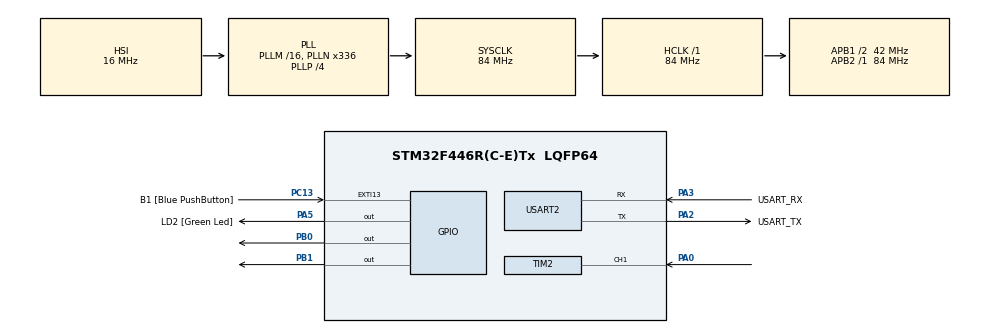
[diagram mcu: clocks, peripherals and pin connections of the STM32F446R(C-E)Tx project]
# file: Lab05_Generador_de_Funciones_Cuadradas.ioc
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Mcu.Family=STM32F4
Mcu.Name=STM32F446R(C-E)Tx
Mcu.Package=LQFP64
NVIC.EXTI15_10_IRQn=true\:0\:0\:false\:false\:true\:true\:true\:true
NVIC.FLASH_IRQn=true\:0\:0\:false\:false\:true\:true\:true\:true
NVIC.FPU_IRQn=true\:0\:0\:false\:false\:true\:true\:false\:true
NVIC.PVD_IRQn=true\:0\:0\:false\:false\:true\:true\:true\:true
NVIC.PriorityGroup=NVIC_PRIORITYGROUP_0
NVIC.RCC_IRQn=true\:0\:0\:false\:false\:true\:true\:false\:true
NVIC.TIM1_UP_TIM10_IRQn=true\:0\:0\:false\:false\:true\:true\:true\:true
NVIC.TIM2_IRQn=true\:0\:0\:false\:false\:true\:true\:true\:true
NVIC.TIM3_IRQn=true\:0\:0\:false\:false\:true\:true\:true\:true
NVIC.USART2_IRQn=true\:0\:0\:false\:false\:true\:true\:true\:true
PA0-WKUP.Signal=S_TIM2_CH1_ETR
PA13.GPIO_Label=TMS
PA13.Mode=Serial_Wire
PA13.Signal=SYS_JTMS-SWDIO
PA14.GPIO_Label=TCK
PA14.Mode=Serial_Wire
PA14.Signal=SYS_JTCK-SWCLK
PA2.GPIO_Label=USART_TX
PA2.Mode=Asynchronous
PA2.Signal=USART2_TX
PA3.GPIO_Label=USART_RX
PA3.Mode=Asynchronous
PA3.Signal=USART2_RX
PA5.GPIO_Label=LD2 [Green Led]
PA5.Signal=GPIO_Output
PB0.Signal=GPIO_Output
PB1.Signal=GPIO_Output
PB3.GPIO_Label=SWO
PB3.Signal=SYS_JTDO-SWO
PC13.GPIO_Label=B1 [Blue PushButton]
PC13.GPIO_ModeDefaultEXTI=GPIO_MODE_IT_FALLING
PC13.Signal=GPXTI13
PC14-OSC32_IN.Mode=LSE-External-Oscillator
PC14-OSC32_IN.Signal=RCC_OSC32_IN
PC15-OSC32_OUT.Mode=LSE-External-Oscillator
PC15-OSC32_OUT.Signal=RCC_OSC32_OUT
PH0-OSC_IN.Mode=HSE-External-Oscillator
PH0-OSC_IN.Signal=RCC_OSC_IN
PH1-OSC_OUT.Mode=HSE-External-Oscillator
PH1-OSC_OUT.Signal=RCC_OSC_OUT
ProjectManager.HeapSize=0x200
ProjectManager.StackSize=0x400
ProjectManager.TargetToolchain=STM32CubeIDE
RCC.48MHZClocksFreq_Value=84000000
RCC.AHBFreq_Value=84000000
RCC.APB1CLKDivider=RCC_HCLK_DIV2
RCC.APB1Freq_Value=42000000
RCC.APB1TimFreq_Value=84000000
RCC.APB2Freq_Value=84000000
RCC.APB2TimFreq_Value=84000000
RCC.CortexFreq_Value=84000000
RCC.FLatency-AdvancedSettings=FLASH_LATENCY_2
RCC.HCLKFreq_Value=84000000
RCC.HSE_VALUE=8000000
RCC.HSI_VALUE=16000000
RCC.PLLN=336
RCC.PLLP=RCC_PLLP_DIV4
RCC.SYSCLKFreq_VALUE=84000000
RCC.SYSCLKSource=RCC_SYSCLKSOURCE_PLLCLK
RCC.USBFreq_Value=168000000
RCC.VCOOutputFreq_Value=336000000
SH.S_TIM2_CH1_ETR.0=TIM2_CH1,Input_Capture1_from_TI1
TIM10.AutoReloadPreload=TIM_AUTORELOAD_PRELOAD_ENABLE
TIM10.Period=9999
TIM10.Prescaler=8399
TIM2.AutoReloadPreload=TIM_AUTORELOAD_PRELOAD_ENABLE
TIM2.Channel-Input_Capture1_from_TI1=TIM_CHANNEL_1
TIM2.Prescaler=83
TIM3.AutoReloadPreload=TIM_AUTORELOAD_PRELOAD_ENABLE
TIM3.Period=2499
TIM3.Prescaler=8399
USART2.VirtualMode=VM_ASYNC
VP_TIM10_VS_ClockSourceINT.Mode=Enable_Timer
VP_TIM3_VS_ClockSourceINT.Mode=Internal
board=NUCLEO-F446RE

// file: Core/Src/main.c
/* USER CODE BEGIN Header */
/**
  ******************************************************************************
  * @file           : main.c
  * @brief          : Main program body
  ******************************************************************************
  * @attention
  *
  * Copyright (c) 2026 STMicroelectronics.
  * All rights reserved.
  *
  * This software is licensed under terms that can be found in the LICENSE file
  * in the root directory of this software component.
  * If no LICENSE file comes with this software, it is provided AS-IS.
  *
  ******************************************************************************
  */
/*
 * Autor: David Carranza
 */
/* USER CODE END Header */
#include "main.h"

/* USER CODE BEGIN Includes */
#include <stdio.h>
#include <string.h>
/* USER CODE END Includes */

TIM_HandleTypeDef htim2;
TIM_HandleTypeDef htim3;
TIM_HandleTypeDef htim10;

UART_HandleTypeDef huart2;

/* USER CODE BEGIN PV */
uint32_t v_cap1 = 0;
uint32_t v_cap2 = 0;
uint32_t diferencia = 0;
uint32_t es_primera = 0;
float frecuencia = 0;

// Frecuencia base ocnfigura en CubeMX (84Mhz/ 84 Prescaler)
uint32_t TIMER_FREQ = 1000000;
/* USER CODE END PV */

void SystemClock_Config(void);
static void MX_GPIO_Init(void);
static void MX_USART2_UART_Init(void);
static void MX_TIM2_Init(void);
static void MX_TIM3_Init(void);
static void MX_TIM10_Init(void);

int main(void)
{

  /* MCU Configuration--------------------------------------------------------*/

  /* Reset of all peripherals, Initializes the Flash interface and the Systick. */
  HAL_Init();

  /* Configure the system clock */
  SystemClock_Config();

  /* Initialize all configured peripherals */
  MX_GPIO_Init();
  MX_USART2_UART_Init();
  MX_TIM2_Init();
  MX_TIM3_Init();
  MX_TIM10_Init();
  /* USER CODE BEGIN 2 */
  // Iniciar la captura de interrupciones para el canal 1 del TIM4
  HAL_TIM_IC_Start_IT(&htim2	, TIM_CHANNEL_1);
  char msg[64];	// Buffer para UART

  HAL_TIM_Base_Start_IT(&htim3);	// Inicia timer para 250 ms
  HAL_TIM_Base_Start_IT(&htim10);	// Inicia timer para 1s

  /* USER CODE END 2 */

  /* Infinite loop */
  /* USER CODE BEGIN WHILE */
  while (1)
  {
	  // Limpiar el buffer y formatear el mensaje con la frecuencia
	        memset(msg, 0, sizeof(msg));
	        sprintf(msg, "Frecuencia: %.2f Hz \r\n", frecuencia);

	        // Transmitir por UART2
	        HAL_UART_Transmit(&huart2, (uint8_t*)msg, strlen(msg), 100);

	        // Retardo para evitar saturar la terminal
	        HAL_Delay(500);

    /* USER CODE END WHILE */

  }
}

void SystemClock_Config(void)
{
  RCC_OscInitTypeDef RCC_OscInitStruct = {0};
  RCC_ClkInitTypeDef RCC_ClkInitStruct = {0};

  /** Configure the main internal regulator output voltage
  */
  __HAL_RCC_PWR_CLK_ENABLE();
  __HAL_PWR_VOLTAGESCALING_CONFIG(PWR_REGULATOR_VOLTAGE_SCALE3);

  /** Initializes the RCC Oscillators according to the specified parameters
  * in the RCC_OscInitTypeDef structure.
  */
  RCC_OscInitStruct.OscillatorType = RCC_OSCILLATORTYPE_HSI;
  RCC_OscInitStruct.HSIState = RCC_HSI_ON;
  RCC_OscInitStruct.HSICalibrationValue = RCC_HSICALIBRATION_DEFAULT;
  RCC_OscInitStruct.PLL.PLLState = RCC_PLL_ON;
  RCC_OscInitStruct.PLL.PLLSource = RCC_PLLSOURCE_HSI;
  RCC_OscInitStruct.PLL.PLLM = 16;
  RCC_OscInitStruct.PLL.PLLN = 336;
  RCC_OscInitStruct.PLL.PLLP = RCC_PLLP_DIV4;
  RCC_OscInitStruct.PLL.PLLQ = 2;
  RCC_OscInitStruct.PLL.PLLR = 2;
  if (HAL_RCC_OscConfig(&RCC_OscInitStruct) != HAL_OK)
  {
    Error_Handler();
  }

  /** Initializes the CPU, AHB and APB buses clocks
  */
  RCC_ClkInitStruct.ClockType = RCC_CLOCKTYPE_HCLK|RCC_CLOCKTYPE_SYSCLK
                              |RCC_CLOCKTYPE_PCLK1|RCC_CLOCKTYPE_PCLK2;
  RCC_ClkInitStruct.SYSCLKSource = RCC_SYSCLKSOURCE_PLLCLK;
  RCC_ClkInitStruct.AHBCLKDivider = RCC_SYSCLK_DIV1;
  RCC_ClkInitStruct.APB1CLKDivider = RCC_HCLK_DIV2;
  RCC_ClkInitStruct.APB2CLKDivider = RCC_HCLK_DIV1;

  if (HAL_RCC_ClockConfig(&RCC_ClkInitStruct, FLASH_LATENCY_2) != HAL_OK)
  {
    Error_Handler();
  }
}

static void MX_TIM2_Init(void)
{

  TIM_MasterConfigTypeDef sMasterConfig = {0};
  TIM_IC_InitTypeDef sConfigIC = {0};

  htim2.Instance = TIM2;
  htim2.Init.Prescaler = 83;
  htim2.Init.CounterMode = TIM_COUNTERMODE_UP;
  htim2.Init.Period = 4294967295;
  htim2.Init.ClockDivision = TIM_CLOCKDIVISION_DIV1;
  htim2.Init.AutoReloadPreload = TIM_AUTORELOAD_PRELOAD_ENABLE;
  if (HAL_TIM_IC_Init(&htim2) != HAL_OK)
  {
    Error_Handler();
  }
  sMasterConfig.MasterOutputTrigger = TIM_TRGO_RESET;
  sMasterConfig.MasterSlaveMode = TIM_MASTERSLAVEMODE_DISABLE;
  if (HAL_TIMEx_MasterConfigSynchronization(&htim2, &sMasterConfig) != HAL_OK)
  {
    Error_Handler();
  }
  sConfigIC.ICPolarity = TIM_INPUTCHANNELPOLARITY_RISING;
  sConfigIC.ICSelection = TIM_ICSELECTION_DIRECTTI;
  sConfigIC.ICPrescaler = TIM_ICPSC_DIV1;
  sConfigIC.ICFilter = 0;
  if (HAL_TIM_IC_ConfigChannel(&htim2, &sConfigIC, TIM_CHANNEL_1) != HAL_OK)
  {
    Error_Handler();
  }

}

static void MX_TIM3_Init(void)
{

  TIM_ClockConfigTypeDef sClockSourceConfig = {0};
  TIM_MasterConfigTypeDef sMasterConfig = {0};

  htim3.Instance = TIM3;
  htim3.Init.Prescaler = 8399;
  htim3.Init.CounterMode = TIM_COUNTERMODE_UP;
  htim3.Init.Period = 2499;
  htim3.Init.ClockDivision = TIM_CLOCKDIVISION_DIV1;
  htim3.Init.AutoReloadPreload = TIM_AUTORELOAD_PRELOAD_ENABLE;
  if (HAL_TIM_Base_Init(&htim3) != HAL_OK)
  {
    Error_Handler();
  }
  sClockSourceConfig.ClockSource = TIM_CLOCKSOURCE_INTERNAL;
  if (HAL_TIM_ConfigClockSource(&htim3, &sClockSourceConfig) != HAL_OK)
  {
    Error_Handler();
  }
  sMasterConfig.MasterOutputTrigger = TIM_TRGO_RESET;
  sMasterConfig.MasterSlaveMode = TIM_MASTERSLAVEMODE_DISABLE;
  if (HAL_TIMEx_MasterConfigSynchronization(&htim3, &sMasterConfig) != HAL_OK)
  {
    Error_Handler();
  }

}

static void MX_TIM10_Init(void)
{

  htim10.Instance = TIM10;
  htim10.Init.Prescaler = 8399;
  htim10.Init.CounterMode = TIM_COUNTERMODE_UP;
  htim10.Init.Period = 9999;
  htim10.Init.ClockDivision = TIM_CLOCKDIVISION_DIV1;
  htim10.Init.AutoReloadPreload = TIM_AUTORELOAD_PRELOAD_ENABLE;
  if (HAL_TIM_Base_Init(&htim10) != HAL_OK)
  {
    Error_Handler();
  }

}

static void MX_USART2_UART_Init(void)
{

  huart2.Instance = USART2;
  huart2.Init.BaudRate = 115200;
  huart2.Init.WordLength = UART_WORDLENGTH_8B;
  huart2.Init.StopBits = UART_STOPBITS_1;
  huart2.Init.Parity = UART_PARITY_NONE;
  huart2.Init.Mode = UART_MODE_TX_RX;
  huart2.Init.HwFlowCtl = UART_HWCONTROL_NONE;
  huart2.Init.OverSampling = UART_OVERSAMPLING_16;
  if (HAL_UART_Init(&huart2) != HAL_OK)
  {
    Error_Handler();
  }

}

static void MX_GPIO_Init(void)
{
  GPIO_InitTypeDef GPIO_InitStruct = {0};

  /* GPIO Ports Clock Enable */
  __HAL_RCC_GPIOC_CLK_ENABLE();
  __HAL_RCC_GPIOH_CLK_ENABLE();
  __HAL_RCC_GPIOA_CLK_ENABLE();
  __HAL_RCC_GPIOB_CLK_ENABLE();

  /*Configure GPIO pin Output Level */
  HAL_GPIO_WritePin(LD2_GPIO_Port, LD2_Pin, GPIO_PIN_RESET);

  /*Configure GPIO pin Output Level */
  HAL_GPIO_WritePin(GPIOB, GPIO_PIN_0|GPIO_PIN_1, GPIO_PIN_RESET);

  /*Configure GPIO pin : B1_Pin */
  GPIO_InitStruct.Pin = B1_Pin;
  GPIO_InitStruct.Mode = GPIO_MODE_IT_FALLING;
  GPIO_InitStruct.Pull = GPIO_NOPULL;
  HAL_GPIO_Init(B1_GPIO_Port, &GPIO_InitStruct);

  /*Configure GPIO pin : LD2_Pin */
  GPIO_InitStruct.Pin = LD2_Pin;
  GPIO_InitStruct.Mode = GPIO_MODE_OUTPUT_PP;
  GPIO_InitStruct.Pull = GPIO_NOPULL;
  GPIO_InitStruct.Speed = GPIO_SPEED_FREQ_LOW;
  HAL_GPIO_Init(LD2_GPIO_Port, &GPIO_InitStruct);

  /*Configure GPIO pins : PB0 PB1 */
  GPIO_InitStruct.Pin = GPIO_PIN_0|GPIO_PIN_1;
  GPIO_InitStruct.Mode = GPIO_MODE_OUTPUT_PP;
  GPIO_InitStruct.Pull = GPIO_NOPULL;
  GPIO_InitStruct.Speed = GPIO_SPEED_FREQ_LOW;
  HAL_GPIO_Init(GPIOB, &GPIO_InitStruct);

  /* EXTI interrupt init*/
  HAL_NVIC_SetPriority(EXTI15_10_IRQn, 0, 0);
  HAL_NVIC_EnableIRQ(EXTI15_10_IRQn);

}

/* USER CODE BEGIN 4 */

void HAL_TIM_IC_CaptureCallback(TIM_HandleTypeDef *htim)
{
    if (htim->Instance == TIM2) // Validación para el timer de 32 bits
    {
        if (es_primera == 0)
        {
            // Se captura el primer flanco de subida
            v_cap1 = HAL_TIM_ReadCapturedValue(htim, TIM_CHANNEL_1);
            es_primera = 1;
        }
        else
        {
            // Se captura el segundo flanco de subida
            v_cap2 = HAL_TIM_ReadCapturedValue(htim, TIM_CHANNEL_1);

            // Manejo de la diferencia y el desbordamiento (Overflow) de 32 bits
            if (v_cap2 > v_cap1)
            {
                diferencia = v_cap2 - v_cap1;
            }
            else if (v_cap2 < v_cap1)
            {
                diferencia = (0xFFFFFFFF - v_cap1) + v_cap2;
            }

            // Cálculo final de la frecuencia en Hertz
            if (diferencia != 0)
            {
                frecuencia = (float)TIMER_FREQ / diferencia;
            }

            // Reiniciar bandera para la siguiente lectura
            es_primera = 0;
        }
    }
}

void HAL_TIM_PeriodElapsedCallback(TIM_HandleTypeDef *htim)
{
	//Lógica para señal de 500 ms (250 ms ON y 250 ms OFF)
	if (htim -> Instance	 == TIM3)
	{
		HAL_GPIO_TogglePin(GPIOB, GPIO_PIN_0); // Cambia el estado del LED 1
	}

	// Lógica para la señal de un período de 2s (1s ON y 1s OFF)
	if (htim -> Instance == TIM10)
	{
		HAL_GPIO_TogglePin(GPIOB, GPIO_PIN_1); // Cambia el estado del LED 2
	}

}

/* USER CODE END 4 */

void Error_Handler(void)
{
  __disable_irq();
  while (1)
  {
  }
}
